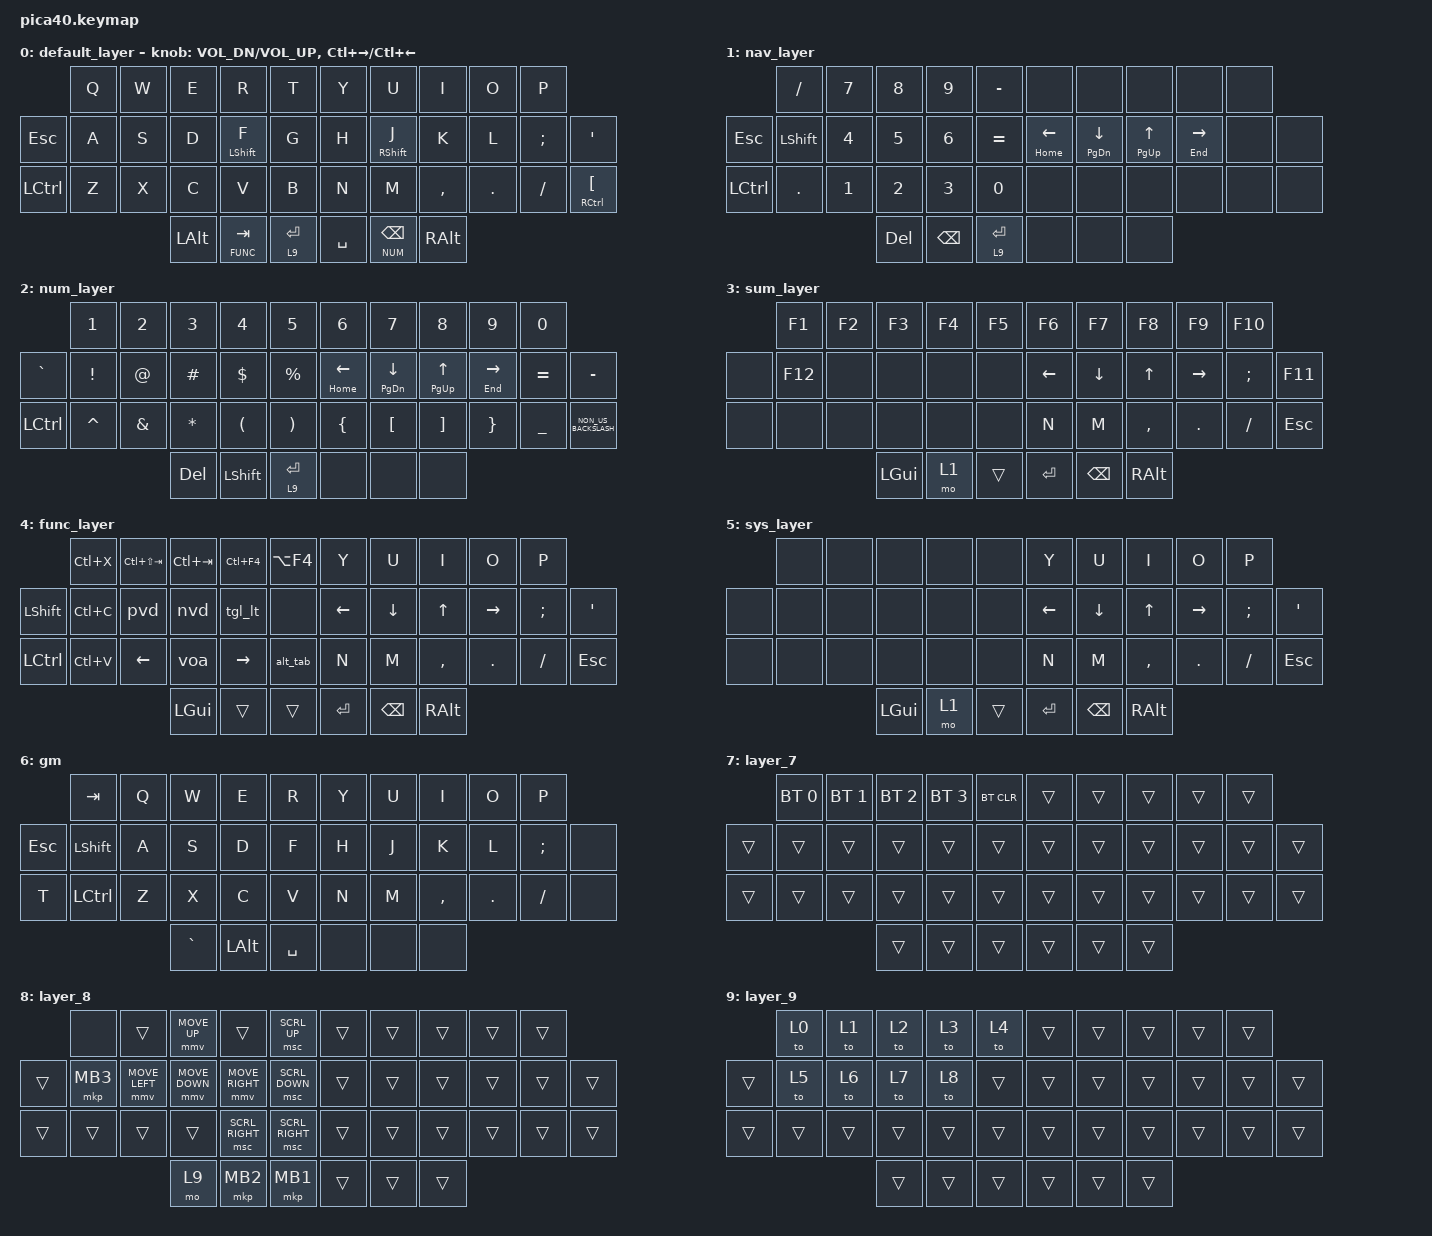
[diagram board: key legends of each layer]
#include <behaviors.dtsi>
#include <dt-bindings/zmk/bt.h>
#include <dt-bindings/zmk/keys.h>
#include <dt-bindings/zmk/pointing.h>

#define KEYS_L 0 1 2 3 4 10 11 12 13 14 15 22 23 24 25 26 27  // left-hand keys
#define KEYS_R 5 6 7 8 9 16 17 18 19 20 21 28 29 30 31 32 33  // right-hand keys
#define THUMBS 34 35 36 37 38 39
#define QWERTY 0
#define NAV 1
#define NUM 2
#define SYM 3
#define FUNC 4
#define SYS 5

&lt { tapping-term-ms = <200>; };

&mt { tapping-term-ms = <150>; };

/ {
    encoders {
        compatible = "zmk,encoders";
        left_encoder: encoder_left {
            bindings = <&inc_dec_kp C_VOL_UP C_VOL_DN>;
        };
        right_encoder: encoder_right {
            bindings = <&inc_dec_kp D S>;
        };
    };

    macros {
        alt_tab: alt_tab {
            compatible = "zmk,behavior-macro";
            #binding-cells = <0>;
            bindings = <&kp LA(TAB)>;
            label = "ALT_TAB";
        };

        tgl_lt: tgl_lt {
            compatible = "zmk,behavior-macro";
            #binding-cells = <0>;
            bindings = <&kp LA(LSHFT)>;
            label = "TGL_LT";
        };

        voa: voa {
            compatible = "zmk,behavior-macro";
            #binding-cells = <0>;
            bindings =
                <&macro_press>,
                <&kp LALT>,
                <&macro_tap>,
                <&kp TAB>,
                <&macro_pause_for_release>,
                <&macro_release>,
                <&kp LALT>;

            label = "VOA";
        };

        nvd: nvd {
            compatible = "zmk,behavior-macro";
            #binding-cells = <0>;
            bindings = <&kp LC(LG(RIGHT))>;
            label = "NVD";
        };

        pvd: pvd {
            compatible = "zmk,behavior-macro";
            #binding-cells = <0>;
            bindings = <&kp LC(LG(LEFT))>;
            label = "PVD";
        };
    };

    combos {
        compatible = "zmk,combos";

        swlg {
            bindings = <&kp LG(SPACE)>;
            key-positions = <14 15>;
        };

        game {
            bindings = <&to 6>;
            key-positions = <2 7>;
        };

        def {
            bindings = <&to 0>;
            key-positions = <37 36>;
            slow-release;
            layers = <6 5 4 0 1 2 3>;
        };

        cw {
            bindings = <&caps_word>;
            key-positions = <14 17>;
        };

        sw {
            bindings = <&to 1>;
            key-positions = <13 18>;
        };
    };

    keymap {
        compatible = "zmk,keymap";

        default_layer {
            bindings = <
            &kp Q  &kp W  &kp E         &kp R             &kp T          &kp Y      &kp U              &kp I      &kp O    &kp P
&kp ESCAPE  &kp A  &kp S  &kp D         &mt LEFT_SHIFT F  &kp G          &kp H      &mt RIGHT_SHIFT J  &kp K      &kp L    &kp SEMI  &kp SQT
&kp LCTRL   &kp Z  &kp X  &kp C         &kp V             &kp B          &kp N      &kp M              &kp COMMA  &kp DOT  &kp FSLH  &mt RCTRL LEFT_BRACKET
                          &kp LEFT_ALT  &lt FUNC TAB      &lt 9 ENTER    &kp SPACE  &lt NUM BSPC       &kp RALT
            >;
            sensor-bindings = <&inc_dec_kp C_VOL_DN C_VOL_UP &inc_dec_kp LC(RIGHT) LC(LEFT)>;
        };

        nav_layer {
            bindings = <
           &kp SLASH       &kp N7        &kp N8        &kp N9         &kp MINUS      &none          &none           &none         &none          &none
&kp ESC    &kp LEFT_SHIFT  &kp NUMBER_4  &kp N5        &kp NUMBER_6   &kp EQUAL      &mt HOME LEFT  &mt PG_DN DOWN  &mt PG_UP UP  &mt END RIGHT  &none  &none
&kp LCTRL  &kp DOT         &kp NUMBER_1  &kp NUMBER_2  &kp NUMBER_3   &kp N0         &none          &none           &none         &none          &none  &none
                                         &kp DEL       &kp BACKSPACE  &lt 9 ENTER    &none          &none           &none
            >;
        };

        num_layer {
            bindings = <
           &kp NUMBER_1  &kp NUMBER_2   &kp NUMBER_3  &kp NUMBER_4          &kp N5                   &kp NUMBER_6    &kp N7              &kp N8          &kp N9           &kp N0
&kp GRAVE  &kp EXCL      &kp AT         &kp HASH      &kp DOLLAR            &kp PERCENT              &mt HOME LEFT   &mt PAGE_DOWN DOWN  &mt PAGE_UP UP  &mt END RIGHT    &kp EQUAL       &kp MINUS
&kp LCTRL  &kp CARET     &kp AMPERSAND  &kp ASTERISK  &kp LEFT_PARENTHESIS  &kp RIGHT_PARENTHESIS    &kp LEFT_BRACE  &kp LBKT            &kp RBKT        &kp RIGHT_BRACE  &kp UNDERSCORE  &kp NON_US_BACKSLASH
                                        &kp DEL       &kp LEFT_SHIFT        &lt 9 ENTER              &none           &none               &none
            >;
        };

        sum_layer {
            bindings = <
       &kp F1   &kp F2  &kp F3    &kp F4  &kp F5    &kp F6     &kp F7    &kp F8     &kp F9     &kp F10
&none  &kp F12  &none   &none     &none   &none     &kp LEFT   &kp DOWN  &kp UP     &kp RIGHT  &kp SEMI  &kp F11
&none  &none    &none   &none     &none   &none     &kp N      &kp M     &kp COMMA  &kp DOT    &kp FSLH  &kp ESC
                        &kp LGUI  &mo 1   &trans    &kp ENTER  &kp BSPC  &kp RALT
            >;
        };

        func_layer {
            bindings = <
           &kp LC(X)  &kp LC(LS(TAB))  &kp LC(TAB)  &kp LC(F4)  &kp LA(F4)    &kp Y      &kp U     &kp I      &kp O      &kp P
&kp LSHFT  &kp LC(C)  &pvd             &nvd         &tgl_lt     &none         &kp LEFT   &kp DOWN  &kp UP     &kp RIGHT  &kp SEMI  &kp SQT
&kp LCTRL  &kp LC(V)  &kp LEFT         &voa         &kp RIGHT   &alt_tab      &kp N      &kp M     &kp COMMA  &kp DOT    &kp FSLH  &kp ESC
                                       &kp LGUI     &trans      &trans        &kp ENTER  &kp BSPC  &kp RALT
            >;
        };

        sys_layer {
            bindings = <
       &none  &none  &none     &none  &none     &kp Y      &kp U     &kp I      &kp O      &kp P
&none  &none  &none  &none     &none  &none     &kp LEFT   &kp DOWN  &kp UP     &kp RIGHT  &kp SEMI  &kp SQT
&none  &none  &none  &none     &none  &none     &kp N      &kp M     &kp COMMA  &kp DOT    &kp FSLH  &kp ESC
                     &kp LGUI  &mo 1  &trans    &kp ENTER  &kp BSPC  &kp RALT
            >;
        };

        GAME {
            bindings = <
         &kp TAB         &kp Q  &kp W      &kp E         &kp R        &kp Y  &kp U  &kp I      &kp O       &kp P
&kp ESC  &kp LEFT_SHIFT  &kp A  &kp S      &kp D         &kp F        &kp H  &kp J  &kp K      &kp L       &kp SEMICOLON  &none
&kp T    &kp LCTRL       &kp Z  &kp X      &kp C         &kp V        &kp N  &kp M  &kp COMMA  &kp PERIOD  &kp SLASH      &none
                                &kp GRAVE  &kp LEFT_ALT  &kp SPACE    &none  &none  &none
            >;

            label = "gm";
        };

        layer_7 {
            bindings = <
        &bt BT_SEL 0  &bt BT_SEL 1  &bt BT_SEL 2  &bt BT_SEL 3  &bt BT_CLR    &trans  &trans  &trans  &trans  &trans
&trans  &trans        &trans        &trans        &trans        &trans        &trans  &trans  &trans  &trans  &trans  &trans
&trans  &trans        &trans        &trans        &trans        &trans        &trans  &trans  &trans  &trans  &trans  &trans
                                    &trans        &trans        &trans        &trans  &trans  &trans
            >;
        };

        layer_8 {
            bindings = <
        &none     &trans          &mmv MOVE_UP    &trans           &msc SCRL_UP       &trans  &trans  &trans  &trans  &trans
&trans  &mkp MB3  &mmv MOVE_LEFT  &mmv MOVE_DOWN  &mmv MOVE_RIGHT  &msc SCRL_DOWN     &trans  &trans  &trans  &trans  &trans  &trans
&trans  &trans    &trans          &trans          &msc SCRL_RIGHT  &msc SCRL_RIGHT    &trans  &trans  &trans  &trans  &trans  &trans
                                  &mo 9           &mkp MB2         &mkp MB1           &trans  &trans  &trans
            >;
        };

        layer_9 {
            bindings = <
        &to 0   &to 1   &to 2   &to 3   &to 4     &trans  &trans  &trans  &trans  &trans
&trans  &to 5   &to 6   &to 7   &to 8   &trans    &trans  &trans  &trans  &trans  &trans  &trans
&trans  &trans  &trans  &trans  &trans  &trans    &trans  &trans  &trans  &trans  &trans  &trans
                        &trans  &trans  &trans    &trans  &trans  &trans
            >;
        };
    };
};
